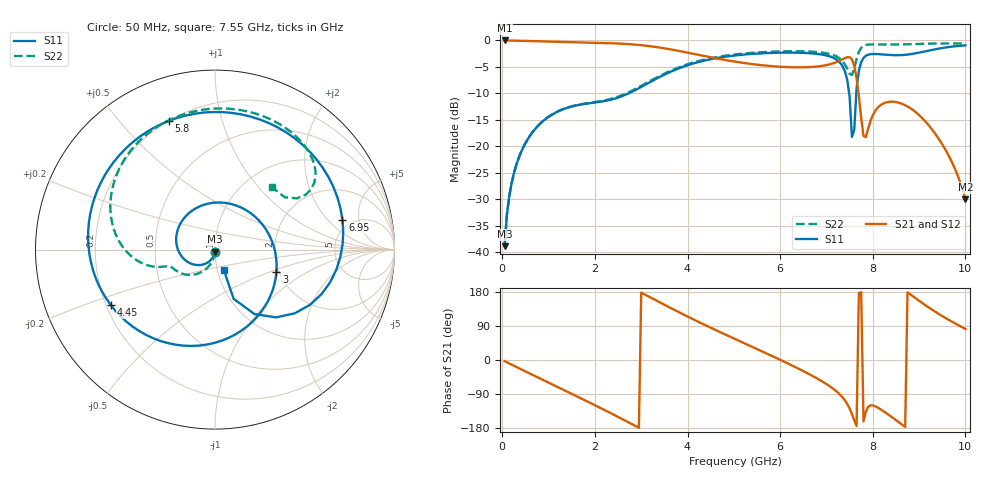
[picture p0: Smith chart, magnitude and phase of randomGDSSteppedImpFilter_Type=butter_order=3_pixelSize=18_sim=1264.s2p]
! freq	dB(S11)	phase(S11)	dB(S12)	phase(S12)
!  dB(S21)	phase(S21)	dB(S22)	phase(S22)
!S-par simulation data
#  GHz  S  DB  R 50
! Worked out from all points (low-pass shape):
!   200 points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, 50 MHz to 10 GHz, reference 50 ohm
!   highest |S21| = -0.01 dB at 50 MHz (marker M1); lowest = -30.0 dB at 10 GHz (marker M2)
!   |S21| within 3 dB of the highest: start of sweep to 4.397 GHz
!   lowest |S11| = -38.9 dB at 50 MHz (marker M3), VSWR 1.02, Z = 49.9 - j1.13 ohm
!   |S11| at or under -10 dB: start of sweep to 2.728 GHz; 7.489 GHz to 7.644 GHz (154.4 MHz wide, 2.04 % of centre)
!   |S22| runs from -38.9 to -0.6 dB; largest |S21 - S12| = 0
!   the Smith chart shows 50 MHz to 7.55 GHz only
!   S11 on the Smith chart (normalised r, x): 50 MHz: 1.00, -0.02; 3 GHz: 1.94, -0.55; 4.45 GHz: 0.22, -0.24; 5.8 GHz: 0.20, +0.69; 6.95 GHz: 4.21, +2.97; 7.55 GHz: 1.07, -0.25
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0.05  -38.88 -93.1  -0.01 -3.1  -0.01 -3.1  -38.86 -91.4
0.2  -27.02 -105.4  -0.03 -12.1  -0.03 -12.1  -26.99 -98.9
0.5  -19.41 -128.9  -0.09 -30.2  -0.09 -30.2  -19.39 -112.3
1.15  -13.65 179.1  -0.28 -68.7  -0.28 -68.7  -13.61 -137.7
1.75  -12.04 124.8  -0.41 -104.2  -0.41 -104.2  -11.98 -154.2
2.35  -11.19 58.3  -0.53 -140.7  -0.53 -140.7  -11.04 -160.8
3  -8.78 -19.8  -0.90 177.9  -0.90 177.9  -8.58 -165.8
3.4  -6.90 -62.2  -1.35 152.2  -1.35 152.2  -6.70 -174.8
4.45  -3.64 -152.0  -3.10 88.1  -3.10 88.1  -3.45 147.5
5.05  -2.82 164.0  -4.04 54.1  -4.04 54.1  -2.62 123.9
5.8  -2.36 109.6  -4.85 12.1  -4.85 12.1  -2.13 94.6
6.7  -2.46 37.1  -5.00 -42.1  -5.00 -42.1  -2.13 59.3
6.95  -2.74 13.1  -4.74 -59.7  -4.74 -59.7  -2.34 49.0
7.4  -5.87 -48.0  -3.33 -106.7  -3.33 -106.7  -4.57 31.2
7.55  -18.23 -66.6  -3.59 -142.7  -3.59 -142.7  -6.54 47.7
7.65  -9.03 25.1  -7.11 -174.1  -7.11 -174.1  -3.47 59.1
7.8  -3.31 -19.7  -18.06 -161.9  -18.06 -161.9  -1.04 43.2
8.05  -2.56 -68.7  -13.35 -122.1  -13.35 -122.1  -0.74 25.1
8.35  -2.74 -117.9  -11.61 -145.2  -11.61 -145.2  -0.78 11.4
8.75  -2.67 175.3  -12.48 178.7  -12.48 178.7  -0.72 -3.7
9.25  -1.84 100.0  -16.49 135.2  -16.49 135.2  -0.59 -21.7
10  -0.93 22.1  -30.03 81.9  -30.03 81.9  -0.59 -47.7
